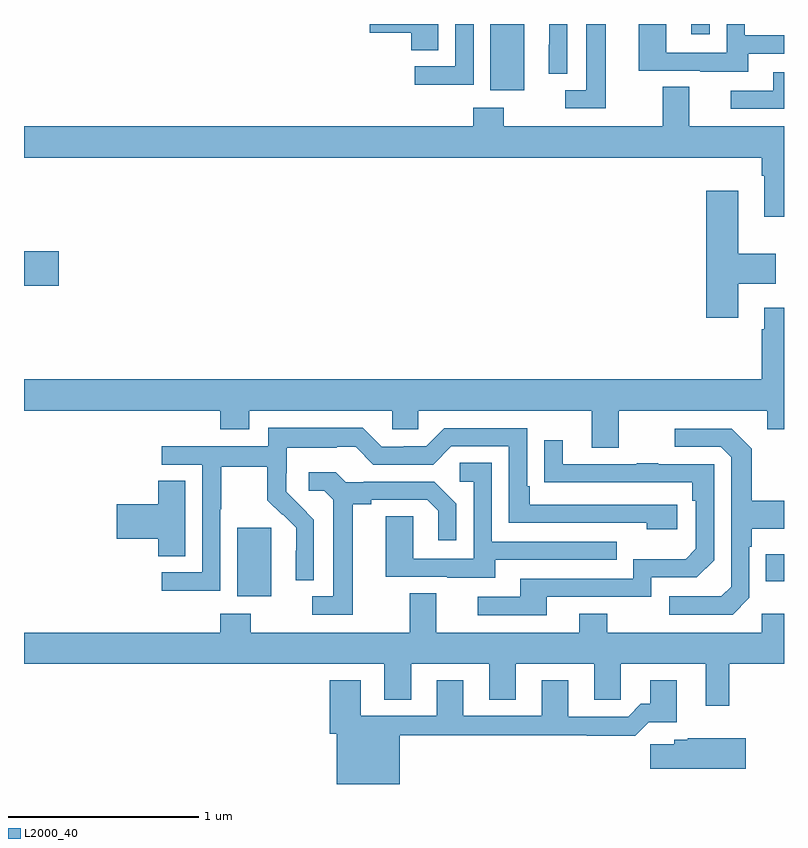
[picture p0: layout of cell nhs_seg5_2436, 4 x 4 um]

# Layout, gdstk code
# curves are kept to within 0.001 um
import gdstk
lib = gdstk.Library(unit=1e-6, precision=1e-09)
def R(c, l, rs):  # rectangles x0, y0, x1, y1
    for r in rs: c.add(gdstk.rectangle(r[:2], r[2:], *l))
def P(c, l, *ps):  # polygons
    for p in ps: c.add(gdstk.Polygon(p, *l))
L2000_40 = (2000, 40)

nhs_seg5_2436 = lib.new_cell('nhs_seg5_2436')
R(nhs_seg5_2436, L2000_40, [(254.123,851.786,254.302,852.147), (256.903,851.867,257,852.007), (253,853.421,253.183,853.604), (255.455,854.45,255.634,854.799), (256.511,854.745,256.608,854.799)])
P(nhs_seg5_2436, L2000_40, [(256.813,854.643),(257,854.643),(257,854.739),(256.794,854.739),(256.794,854.799),(256.698,854.799),(256.698,854.649),(256.38,854.649),(256.38,854.799),(256.235,854.799),(256.235,854.553),(256.559,854.553),(256.559,854.549),(256.813,854.549)],
  [(255.366,854.799),(255.27,854.799),(255.27,854.577),(255.057,854.577),(255.057,854.479),(255.366,854.479)],
  [(255.858,854.799),(255.764,854.799),(255.764,854.69),(255.762,854.69),(255.762,854.536),(255.858,854.536)],
  [(255.181,854.799),(254.82,854.799),(254.82,854.753),(255.038,854.753),(255.038,854.662),(255.181,854.662)],
  [(256.063,854.799),(255.959,854.799),(255.959,854.451),(255.849,854.451),(255.849,854.355),(256.063,854.355)],
  [(257,854.544),(256.943,854.544),(256.943,854.448),(256.719,854.448),(256.719,854.352),(257,854.352)],
  [(257,854.26),(256.501,854.26),(256.501,854.468),(256.361,854.468),(256.361,854.26),(255.525,854.26),(255.525,854.359),(255.365,854.359),(255.365,854.26),(253,854.26),(253,854.096),(256.883,854.096),(256.883,854),(256.895,854),(256.895,853.785),(257,853.785)],
  [(256.759,853.433),(256.957,853.433),(256.957,853.591),(256.759,853.591),(256.759,853.921),(256.592,853.921),(256.592,853.254),(256.759,853.254)],
  [(253,852.764),(254.033,852.764),(254.033,852.665),(254.185,852.665),(254.185,852.764),(254.937,852.764),(254.937,852.666),(255.075,852.666),(255.075,852.764),(255.989,852.764),(255.989,852.57),(256.129,852.57),(256.129,852.764),(256.913,852.764),(256.913,852.665),(257,852.665),(257,853.306),(256.895,853.306),(256.895,853.193),(256.883,853.193),(256.883,852.928),(253,852.928)],
  [(254.034,852.244),(254.037,852.244),(254.037,852.468),(254.281,852.468),(254.281,852.293),(254.358,852.216),(254.361,852.219),(254.432,852.149),(254.432,852.026),(254.43,852.026),(254.43,851.872),(254.526,851.872),(254.526,852.19),(254.38,852.338),(254.38,852.435),(254.382,852.435),(254.382,852.569),(254.645,852.569),(254.645,852.573),(254.745,852.573),(254.838,852.48),(255.153,852.48),(255.249,852.576),(255.552,852.576),(255.552,852.174),(256.277,852.174),(256.277,852.14),(256.438,852.14),(256.438,852.27),(255.661,852.27),(255.661,852.367),(255.648,852.367),(255.648,852.672),(255.213,852.672),(255.117,852.576),(254.999,852.576),(254.999,852.573),(254.883,852.573),(254.783,852.673),(254.286,852.673),(254.286,852.576),(253.725,852.576),(253.725,852.48),(253.938,852.48),(253.938,851.913),(253.725,851.913),(253.725,851.815),(254.034,851.815)],
  [(256.818,851.778),(256.818,852.047),(256.831,852.047),(256.831,852.143),(257,852.143),(257,852.291),(256.831,852.291),(256.831,852.563),(256.725,852.669),(256.425,852.669),(256.425,852.573),(256.668,852.573),(256.722,852.519),(256.722,851.838),(256.671,851.787),(256.395,851.787),(256.395,851.691),(256.731,851.691)],
  [(255.751,851.784),(256.302,851.784),(256.302,851.886),(256.542,851.886),(256.632,851.976),(256.632,852.483),(256.337,852.483),(256.337,852.488),(256.225,852.488),(256.225,852.483),(255.835,852.483),(255.835,852.607),(255.739,852.607),(255.739,852.388),(256.516,852.387),(256.516,852.29),(256.536,852.29),(256.536,852.036),(256.483,851.983),(256.206,851.983),(256.206,851.88),(255.611,851.88),(255.611,851.784),(255.387,851.784),(255.387,851.688),(255.751,851.688)],
  [(255.481,851.979),(256.121,851.979),(256.121,852.075),(255.462,852.075),(255.462,852.491),(255.294,852.491),(255.294,852.39),(255.366,852.39),(255.366,851.985),(255.048,851.985),(255.048,852.209),(254.903,852.209),(254.903,851.889),(255.227,851.889),(255.227,851.885),(255.481,851.885)],
  [(254.731,852.272),(254.827,852.272),(254.827,852.294),(255.122,852.294),(255.179,852.237),(255.179,852.081),(255.276,852.081),(255.276,852.274),(255.16,852.39),(254.788,852.39),(254.788,852.387),(254.694,852.387),(254.642,852.439),(254.499,852.439),(254.499,852.342),(254.58,852.342),(254.627,852.295),(254.627,851.787),(254.517,851.787),(254.517,851.691),(254.731,851.691)],
  [(253.849,852.395),(253.706,852.395),(253.706,852.272),(253.488,852.272),(253.488,852.089),(253.706,852.089),(253.706,851.998),(253.849,851.998)],
  [(256.711,851.432),(257,851.432),(257,851.695),(256.884,851.695),(256.884,851.596),(256.071,851.596),(256.071,851.695),(255.923,851.695),(255.923,851.596),(255.169,851.596),(255.169,851.804),(255.029,851.804),(255.029,851.596),(254.193,851.596),(254.193,851.695),(254.033,851.695),(254.033,851.596),(253,851.596),(253,851.432),(254.897,851.432),(254.897,851.242),(255.037,851.242),(255.037,851.432),(255.449,851.432),(255.449,851.242),(255.589,851.242),(255.589,851.432),(256.001,851.432),(256.001,851.242),(256.14,851.242),(256.14,851.432),(256.589,851.432),(256.589,851.211),(256.711,851.211)],
  [(254.977,851.056),(255.961,851.056),(255.961,851.054),(256.217,851.054),(256.287,851.124),(256.435,851.124),(256.435,851.344),(256.295,851.344),(256.295,851.221),(256.246,851.221),(256.179,851.154),(255.865,851.154),(255.865,851.344),(255.725,851.344),(255.725,851.157),(255.313,851.157),(255.313,851.344),(255.173,851.344),(255.173,851.157),(254.773,851.157),(254.773,851.344),(254.609,851.344),(254.609,851.064),(254.645,851.064),(254.645,850.799),(254.977,850.799)],
  [(256.798,851.041),(256.494,851.041),(256.494,851.032),(256.422,851.032),(256.422,851.009),(256.296,851.009),(256.296,850.88),(256.798,850.88)])

lib.write_gds('nhs_seg5_2436.gds')
